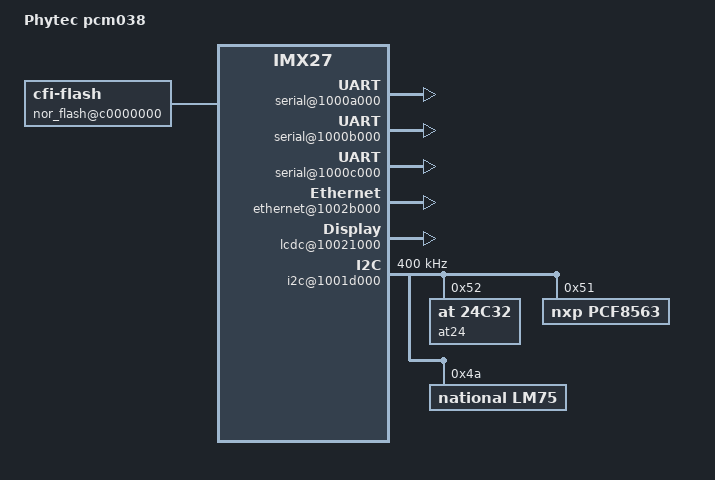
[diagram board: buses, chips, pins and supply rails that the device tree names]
/*
 * Copyright 2012 Sascha Hauer, Pengutronix
 *
 * The code contained herein is licensed under the GNU General Public
 * License. You may obtain a copy of the GNU General Public License
 * Version 2 or later at the following locations:
 *
 * http://www.opensource.org/licenses/gpl-license.html
 * http://www.gnu.org/copyleft/gpl.html
 */

/dts-v1/;
/include/ "imx27.dtsi"

/ {
	model = "Phytec pcm038";
	compatible = "phytec,imx27-pcm038", "fsl,imx27";

	memory {
		reg = <0x0 0x0>;
	};

	baseboard {
		compatible = "simple-bus";
		#address-cells = <2>;
                #size-cells = <1>;

		display {
			compatible = "fsl,imx-parallel-display";
			edid = [00 ff ff ff ff ff ff 00 4c 2d 6c 03 36 32 49 4b
				0f 13 01 03 80 37 22 a0 2a fe 21 a8 53 37 ae 24
				11 50 54

				/* est timings */
				00 00 00

				/* std timings */
				00 00
				00 00
				00 00
				00 00
				00 00
				00 00
				00 00
				00 00

				/* detailed timings */
				05 0D 20 A0 30 58 1C 20 28 20 14 00 26 57 21 00 00 1E
				00 00 00 fd 00 32 4b 1b	51 11 00 0a 20 20 20 20 20 20
				00 00 00 fc 00 53 79 6e 63 4d 61 73 74 65 72 0a 20 20
				00 00 00 ff 00 48 39 58 53 34 30 30 34 34 32 0a 20 20
				00 20];

			crtc = <&lcdc 0>;
		};
	};

	soc {
		aipi@10000000 { /* aipi */

			wdog@10002000 {
				status = "okay";
			};

			serial@1000a000 {
				fsl,uart-has-rtscts;
				status = "okay";
			};

			serial@1000b000 {
				fsl,uart-has-rtscts;
				status = "okay";
			};

			serial@1000c000 {
				fsl,uart-has-rtscts;
				status = "okay";
			};

			ethernet@1002b000 {
				status = "okay";
			};

			lcdc@10021000 {
				status = "okay";
			};

			i2c@1001d000 {
				clock-frequency = <400000>;
				status = "okay";
				at24@4c {
					compatible = "at,24c32";
					pagesize = <32>;
					reg = <0x52>;
				};
				pcf8563@51 {
					compatible = "nxp,pcf8563";
					reg = <0x51>;
				};
				lm75@4a {
					compatible = "national,lm75";
					reg = <0x4a>;
				};
			};
		};
	};

	nor_flash@c0000000 {
		compatible = "cfi-flash";
		bank-width = <2>;
		reg = <0xc0000000 0x02000000>;
		#address-cells = <1>;
		#size-cells = <1>;
	};
};
